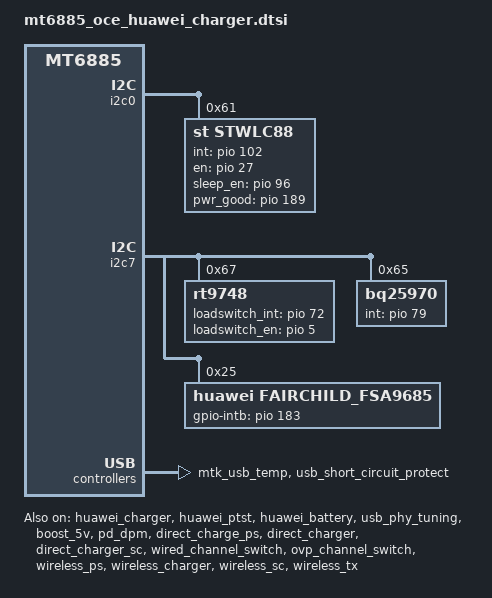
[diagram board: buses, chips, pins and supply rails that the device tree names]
&charger {
	ac_charger_current = <2695000>;
	ac_charger_input_current = <2300000>;
	fcp_charger_current = <2500000>;
	fcp_charger_input_current = <1400000>;
	non_std_ac_charger_current = <1200000>;
	pd_vbus_upper_bound = <9000000>;
	max_charger_voltage = <12000000>;
	bc12_charger = <22>; /* usb switch do bc12 */
	dpm_enable;
	dynamic_cv_en;
	battery_cv = <4410000>;
	iterm = <150000>;
	vbus_max_limit = <11500>;
	jeita_temp_t2_to_t3_cv = <4410000>;
	jeita_temp_t1_to_t2_cv = <4410000>;
	jeita_temp_t0_to_t1_cv = <4410000>;
	jeita_temp_t2_to_t3_cur = <2695000>;
	vdpm_buf_limit = <100>;
	vdpm_para =
			"-32767", "4000", "4300", "50",
			"4000", "4200", "4500", "50",
			"4200", "32767", "4600", "50";
	charge_full_design = <4200000>;
	enable_dynamic_mivr;
};

&pio {
	rt9748_irq_pins_default: rt9748_irq_pins_default {
		pins_cmd_dat {
			pinmux = <PINMUX_GPIO72__FUNC_GPIO72>;
			slew-rate = <0>;
			bias-pull-up;
		};
	};

	bq25970_irq_pins_default: bq25970_irq_pins_default {
		pins_cmd_dat {
			pinmux = <PINMUX_GPIO79__FUNC_GPIO79>;
			slew-rate = <0>;
			bias-pull-up;
		};
	};

	fsa9685_irq_pins_default: fsa9685_irq_pins_default {
		pins_cmd_dat {
			pinmux = <PINMUX_GPIO183__FUNC_GPIO183>;
			slew-rate = <0>;
			bias-pull-up;
		};
	};

	stwlc88_irq_pins_default: stwlc88_irq_pins_default {
		pins_cmd_dat {
			pinmux = <PINMUX_GPIO102__FUNC_GPIO102>;
			slew-rate = <0>;
			bias-pull-up;
		};
	};

	pca9488_irq_pins_default: pca9488_irq_pins_default {
		pins_cmd_dat {
			pinmux = <PINMUX_GPIO15__FUNC_GPIO15>;
			slew-rate = <0>;
			bias-pull-up;
		};
	};
};

&i2c0 {
	#address-cells = <1>;
	#size-cells = <0>;
	stwlc88@61 {
		compatible = "st,stwlc88";
		reg = <0x61>;
		pinctrl-names = "default";
		pinctrl-0 = <&stwlc88_irq_pins_default>;
		gpio_int = <&pio 102 0x0>;
		gpio_en = <&pio 27 0x0>;
		gpio_sleep_en = <&pio 96 0x0>;
		gpio_pwr_good = <&pio 189 0x0>;
		gpio_en_valid_val = <0>;
		rx_ss_good_lth = <110>;
		rx_ldo_cfg_5v = /bits/ 8 <0x13 0x13 0x0D 0x03 0x13 0x20 0x2C>;
		rx_ldo_cfg_9v = /bits/ 8 <0x13 0x13 0x0D 0x03 0x13 0x20 0x2C>;
		rx_ldo_cfg_12v = /bits/ 8 <0x13 0x13 0x0D 0x03 0x13 0x20 0x2C>;
		rx_ldo_cfg_sc = /bits/ 8 <0x2F 0x2F 0x0D 0x03 0x13 0x20 0x2C>;
		rx_fod_5v = /bits/ 8 <0x20 0x40 0x60 0x64 0x6E 0x00 0x00 0x00 0x00 0x00 0x00 0x15 0x15 0x15 0x15 0x15 0x15 0x8C>;
		rx_fod_9v = /bits/ 8 <0x31 0x42 0x54 0x7C 0x91 0x00 0x00 0x00 0x00 0x00 0x00 0x13 0x0D 0x08 0xFC 0xE1 0xCE 0x8C>;
		rx_fod_12v = /bits/ 8 <0x31 0x42 0x54 0x7C 0x91 0x00 0x00 0x00 0x00 0x00 0x00 0x13 0x0D 0x08 0xFC 0xE1 0xCE 0x8C>;
		rx_fod_15v = /bits/ 8 <0x37 0x49 0x92 0xAE 0xD6 0x00 0x00 0x00 0x00 0x00 0x00 0x00 0xDC 0x0A 0x04 0x05 0x02 0x8C>;
		temp_para = <
			/* temp(min,max] ilim temp_back */
			0   100       2500 10
			100 999       1500 0
		>;
		time_para = <
			/* time  ilim */
			510   1500
			210   1900
			90    2000
			0     2100
		>;
		status = "ok";
	};

	pca9488@55 {
		compatible = "charge_pump_pca9488";
		reg = <0x55>;
		pinctrl-names = "default";
		pinctrl-0 = <&pca9488_irq_pins_default>;
		gpio_int = <&pio 15 0x0>;
		status = "disabled";
	};

	hl1506@1B {
		compatible = "charge_pump_hl1506";
		reg = <0x1B>;
		cp_type = <0x0401>;
		status = "disabled";
	};
};

&i2c3 {
	#address-cells = <1>;
	#size-cells = <0>;
	hl1506@1B {
		compatible = "charge_pump_hl1506_aux";
		reg = <0x1B>;
		cp_type = <0x0402>;
		status = "disabled";
	};
};

&i2c7 {
	#address-cells = <1>;
	#size-cells = <0>;
	rt9748@67 {
		compatible = "rt9748";
		pinctrl-names = "default";
		pinctrl-0 = <&rt9748_irq_pins_default>;
		loadswitch_int = <&pio 72 0x0>;
		loadswitch_en = <&pio 5 0x0>;
		reg = <0x67>;
		status = "ok";
	};

	bq25970@65 {
		compatible = "bq25970";
		pinctrl-names = "default";
		pinctrl-0 = <&bq25970_irq_pins_default>;
		gpio_int = <&pio 79 0x0>;
		switching_frequency = <675>;
		sense_r_config = <50>;
		sense_r_actual = <50>;
		reg = <0x65>;
		status = "ok";
	};

	fairchild_fsa9685@25 {
		compatible = "huawei,fairchild_fsa9685";
		reg = <0x25>;
		pinctrl-names = "default";
		pinctrl-0 = <&fsa9685_irq_pins_default>;
		fairchild_fsa9685,gpio-intb = <&pio 183 0x0>;
		fcp_support = <1>;
		scp_support = <1>;
		power_by_5v = <1>;
		close_bc12 = <1>;
		/* for rt8979 */
		interrupt-names = "vbus_change", "device_change", "detach",
			"attach";
		/* auto_switch; */
		scp;
		dcd;
		dcd_timeout = <600>; /* ms */
		intb_watchdog = <1000>; /* ms */
		ovp_sel = <14500000>; /* uV */
		status = "ok";
	};
};
&huawei_charger {
	compatible = "huawei,charger";
	status = "ok";
};

&huawei_ptst {
	compatible = "huawei,power_test";
	status = "ok";
};

&huawei_battery {
	compatible = "huawei,battery";
	voltage_max_design = <4430000>;
	status = "ok";
};

&lk_charger{
	ac_charger_current = <1050000>;
	ac_charger_input_current = <1050000>;
	non_std_ac_charger_current = <1050000>;
	max_charger_voltage = <12000000>;
	is_power_path;
	poweron_charger_enable = <1>;
};

&bat_gm30 {
	bat_para =
		"BIT_CAE", "240000", "340000";
	min_fcc = <3150000>;
	max_fcc = <4200000>;
	dlpt_optimization;
	CAR_TUNE_VALUE = <(100)>;
	#include "BT122_battery_table_ext.dtsi"
};

&usb_phy_tuning {
	d_u2_vrt_ref = <7>;
	d_u2_term_ref = <7>;
	d_u2_enhance = <3>;
	status = "ok";
};

&mt6360_pmu {
	mt6360,intr_gpio_num = <24>; /* direct defined GPIO num */
	mt6360,intr_gpio = <&pio 24 0x0>;
};

&vbus_channel_boost_gpio {
	gpio_otg_switch = <&pio 84 0x0>;
	status = "ok";
};

&boost_5v {
	boost_5v_use_common_pmic = <0>;
	gpio_5v_boost = <&pio 81 0x0>;
	status = "ok";
};

&pd_dpm {
        otg_channel = <1>;
        status = "ok";
};

&mt6360_typec {
	mt6360pd,intr_gpio_num = <25>; /* direct defined GPIO num */
	mt6360pd,intr_gpio = <&pio 25 0x0>;
};

&direct_charge_ps {
	boost_5v_support_scp_power = <1>;
	bst_ctrl_use_common_gpio = <0>;
	bst_ctrl = <&pio 110 0x0>;
	is_need_bst_ctrl = <1>;
	status = "ok";
};

&direct_charger {
	use_5A = <1>;
	scp_work_on_charger = <1>;
	need_wired_sw_off = <0>;
	volt_para =
		"4080", "5000", "4650",
		"4230", "4650", "2800",
		"4420", "2800", "1200";
	compensate_r = <20>;
	cc_cable_detect_enable = <1>;
	full_path_res_max = <220>;
	standard_cable_full_path_res_max = <260>;
	first_cc_stage_timer_in_min = <5>;
	stage_need_to_jump = "1";
	max_dc_bat_vol = <4420>;
	low_temp_hysteresis = <5>;
	temp_para =
		"-32767", "10", "0",
		"10", "45", "5000",
		"45", "32767", "0";
	rt_test_para =
		"2000", "105"; /* rt_curr_th rt_test_time */
	status = "ok";
};

&direct_charger_sc {
	use_5A = <1>;
	adaptor_antifake_check_enable = <1>;
	adaptor_antifake_key_index = <2>;
	ui_max_pwr = <40000>;
	dc_volt_ratio = <2>;
	max_adaptor_vset = <11000>;
	init_adapter_vset = <8800>;
	delta_err_10v2p25a = <150>;
	vol_err_th = <500>;
	adaptor_leakage_current_th = <600>;
	high_temp_hysteresis = <1>;
	gain_curr_10v2a = <300>;
	gain_curr_10v2p25a = <500>;
	init_delt_vset = <450>;
	vstep = <20>;
	max_dc_bat_vol = <4420>;
	max_current_for_none_standard_cable = <4200>;
	volt_para =
		"4200", "8000", "6000",
		"4330", "6000", "5460",
		"4350", "5460", "4200",
		"4420", "4200", "1200";
	compensate_r = <20>;
	cc_cable_detect_enable = <1>;
	full_path_res_max = <500>;
	scp_work_on_charger = <1>;
	need_wired_sw_off = <0>;
	standard_cable_full_path_res_max = <500>;
	first_cc_stage_timer_in_min = <10>;
	stage_need_to_jump = "-1";
	is_show_ico_first = <1>;
	is_send_cable_type = <0>;
	temp_para =
		"-32767", "10", "0",
		"10", "45", "8000",
		"45", "32767", "0";
	resist_para =
		"0", "300", "8000",
		"300", "500", "5000";
	std_resist_para =
		"0", "300", "8000",
		"300", "500", "5000";
	10v2p25a_cur_para =
		"-32767", "5500",  "2000",
		"5500",   "9000",  "2500",
		"9000",   "10000", "2250",
		"10000",  "10500", "2000",
		"10500",  "32767", "1500";
	rt_test_para =
		"2500", "105"; /* rt_curr_th rt_test_time */
	status = "ok";
};

&wired_channel_switch {
	use_ovp_cutoff_wired_channel = <1>;
	use_super_switch_cutoff_wired_channel = <0>;
	use_wireless_switch_cutoff_wired_channel = <0>;
	status = "ok";
};

&ovp_channel_switch {
	gpio_ovp_chsw_en = <&pio 111 0x0>;
	gpio_low_by_set_input = <0>;
	status = "ok";
};

&wireless_ps {
	gpio_txsw = <&pio 100 0x0>;
	gpio_txsw_valid_val = <1>;
	gpio_rxsw = <&pio 133 0x0>;
	gpio_rxsw_valid_val = <0>;
	gpio_ext_pwr_sw = <&pio 22 0x0>;
	gpio_ext_pwr_sw_valid_val = <1>;
	tx_ps_ctrl_src = <1>; /* 0:NA 1:tx_chip 2:AP */
	sysfs_en_pwr = <1>; /* 0:null 1:rx_pwr 2:tx_pwr */
	proc_otp_pwr = <1>; /* 0:null 1:rx_pwr 2:tx_pwr */
	status = "ok";
};

&wireless_charger {
	ui_max_pwr = <27000>;
	product_max_pwr = <40000>;
	pmax = <25>;
	fod_status = <0x2e53>; /* b1:fop b2:q_val */
	antifake_key_index = <1>;
	interference_para =
		"0x01", "0xfe", "131", "5000", "5500", "475",
		"0x02", "0xfd", "-1",  "-1",   "-1",   "1000";
	rx_mode_para =
		/*This table should be arranged in ascending order of power mode priority*/
		/*mode  tx_vout  tx_iout tx_vset  rx_vset  rx_iset vrect_lth tbatt cable cert  icon time expect_mode*/
		"5W",   "5000",  "475",  "5000",  "5500",  "825",  "4650",   "-1", "-1", "-1", "0", "-1",  "4",
		"7.5W", "9000",  "1400", "9000",  "9900",  "825",  "8000",   "-1", "-1", "-1", "0", "-1",  "2",
		"10W",  "9000",  "2000", "9000",  "9900",  "1100", "9000",   "-1", "-1", "1",  "1", "-1",  "4",
		"SC_2", "9000",  "2000", "9000",  "9000",  "-1",   "-1",     "45", "-1", "1",  "1", "-1",  "4",
		"SC_4", "15000", "1800", "15000", "15000", "-1",   "-1",     "45", "-1", "1",  "2", "-1",  "-1";
	status = "ok";
};

&wireless_sc {
	support_multi_cp = <0>;
	single_cp_iout_th = <3000>;
	multi_cp_para = <1700 1000 1300 10000>;
	ibat_max_hth = <7900>;
	ibat_min_lth = <7600>;
	init_para =
		/* in ratio-descending order
		 * ext_pwr: bit(0): needed by sc chip; bit(1): needed by rx
		 * type   type_name ext_pwr rx_ratio vbatt(lth, hth) rx_vout  vout_th vdiff  ileak_th vdelt  rx_vmax
		 */
		   "0x2", "SC_2",   "0",    "1",     "3550", "4380", "9000",  "450",  "300", "100",   "300", "10000",
		   "0x4", "SC_4",   "2",    "2",     "3550", "4380", "15000", "500",  "300", "100",   "500", "20000";
	volt_para00 =
		"4410", "1300", "600";
	volt_para01 =
		"4150", "4200", "3000",
		"4300", "3000", "1435",
		"4390", "1435", "1000";
	volt_para02 =
		"4250", "4200", "3000",
		"4330", "3000", "2050",
		"4390", "2050", "1000";
	volt_para10 =
		"4410", "1300", "600";
	volt_para11 =
		"4150", "4200", "3000",
		"4300", "3000", "1435",
		"4390", "1435", "1000";
	volt_para12 =
		"4250", "4200", "3000",
		"4330", "3000", "2050",
		"4390", "2050", "1000";
	bat_para =
		"default", "10", "45", "0x02", "volt_para00",
		"default", "10", "45", "0x04", "volt_para01",
		"CAE", "10", "45", "0x02", "volt_para00",
		"CAE", "10", "20", "0x04", "volt_para01",
		"CAE", "20", "45", "0x04", "volt_para02",
		"CSE", "10", "45", "0x02", "volt_para10",
		"CSE", "10", "20", "0x04", "volt_para11",
		"CSE", "20", "45", "0x04", "volt_para12";
	status = "ok";
};

&wireless_tx {
	pwr_type = <3>; /* 5VBST */
	/* rx_vmin rx_vmax tx_vset tx_lvset tx_hvset tx_pl_th tx_pl_cnt ext_hdl */
	tx_vset_para = < 4900 6400 5000 4500 6300 0 0 0 >;
	/* power_supply ping handshake default */
	tx_stage_vset = <5000 5000 5000 5000>;
	/* type vout iout extra */
	tx_cap = <
		0x9 5000 500  0
	>;
	status = "ok";
};

&huawei_ptst {
	/* definition refered to huawei_power_test.dtsi */
	wlc_mmi = <1>;
	wlc_mmi_para = <10 0x07 1 0 0 0>;
	wl_hw_test = <1>;
	wl_hw_module = <0x1>;
	wlc_wp = <1>;
	wlc_wp_para = <1000>;
	status = "ok";
};

&power_thermalzone {
	status = "ok";
};

&mtk_usb_temp {
	using_mtcharger_adc = <1>;
	io-channels = <&adc 10>;
	status = "ok";
};

&usb_short_circuit_protect {
	uscp_threshold_tusb = <40>;
	open_mosfet_temp = <30>;
	close_mosfet_temp = <10>;
	interval_switch_temp = <15>;
	status = "ok";
};
